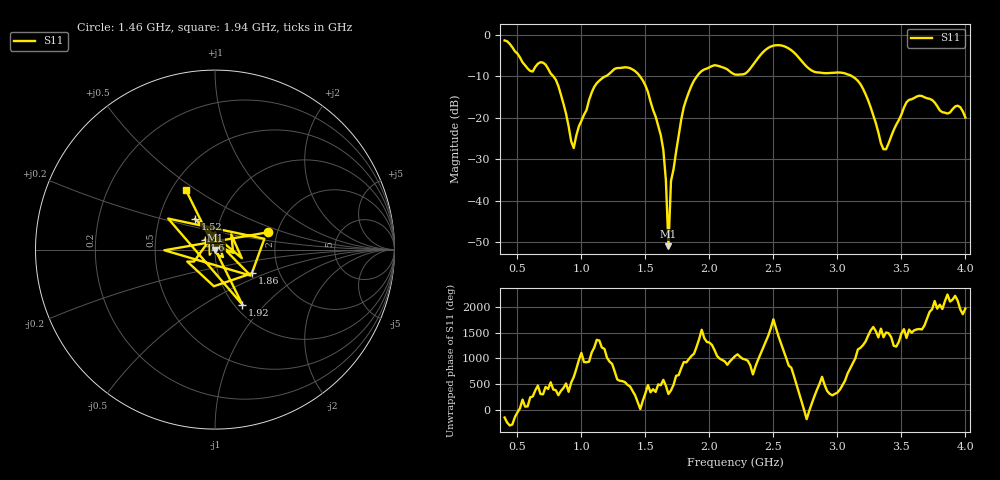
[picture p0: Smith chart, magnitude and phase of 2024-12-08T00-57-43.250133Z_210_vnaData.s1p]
!Created with skrf (http://scikit-rf.org).
# Hz S RI R 50.0
!freq ReS11 ImS11
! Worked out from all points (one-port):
!   181 points, 400 MHz to 4 GHz, reference 50 ohm
!   lowest |S11| = -51.0 dB at 1.68 GHz (marker M1), VSWR 1.01, Z = 50.2 - j0.216 ohm
!   |S11| at or under -10 dB: 781.3 MHz to 1.186 GHz (405.2 MHz wide, 41.2 % of centre); 1.458 GHz to 1.902 GHz (444.4 MHz wide, 26.4 % of centre); 3.116 GHz to end of sweep
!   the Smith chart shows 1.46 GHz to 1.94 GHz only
!   S11 on the Smith chart (normalised r, x): 1.46 GHz: 1.80, +0.39; 1.52 GHz: 0.76, +0.27; 1.6 GHz: 0.89, +0.10; 1.86 GHz: 1.45, -0.41; 1.92 GHz: 1.09, -0.76; 1.94 GHz: 0.59, +0.45
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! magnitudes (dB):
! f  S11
! 400 MHz  -1.3
! 600 MHz  -8.7
! 720 MHz  -7.2
! 860 MHz  -16.6
! 940 MHz  -27.3
! 1.1 GHz  -12.5
! 1.3 GHz  -8.0
! 1.46 GHz  -10.1
! 1.52 GHz  -13.8
! 1.6 GHz  -21.9
! 1.64 GHz  -27.7
! 1.66 GHz  -35.1
! 1.68 GHz  -51.0
! 1.7 GHz  -35.3
! 1.76 GHz  -24.3
! 1.86 GHz  -12.2
! 1.92 GHz  -9.3
! 1.94 GHz  -8.7
! 2.2 GHz  -9.6
! 2.48 GHz  -2.8
! 2.66 GHz  -4.2
! 2.82 GHz  -8.9
! 3.1 GHz  -9.7
! 3.22 GHz  -14.3
! 3.36 GHz  -27.6
! 3.56 GHz  -15.7
! 3.94 GHz  -17.1
! 4 GHz  -19.9
